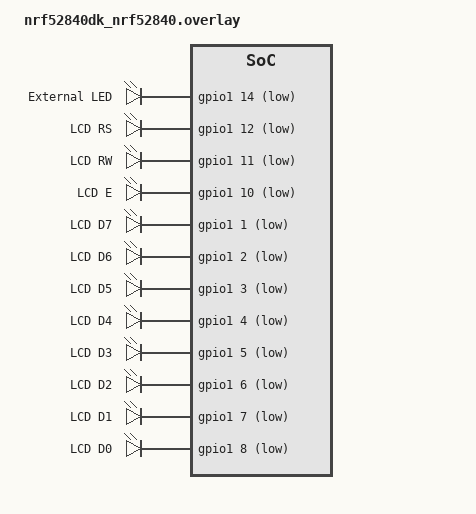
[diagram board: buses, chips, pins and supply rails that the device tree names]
// To get started, press Ctrl+Space (or Option+Esc) to bring up the completion menu and view the available nodes.

// You can also use the buttons in the sidebar to perform actions on nodes.
// Actions currently available include:

// * Enabling / disabling the node
// * Adding the bus to a bus
// * Removing the node
// * Connecting ADC channels

// For more help, browse the DeviceTree documentation at https: //docs.zephyrproject.org/latest/guides/dts/index.html
// You can also visit the nRF DeviceTree extension documentation at https: //docs.nordicsemi.com/bundle/nrf-connect-vscode/page/guides/ncs_configure_app.html#devicetree-support-in-the-extension


/ {
  lcd_pins {
    compatible = "gpio-leds";

    ext_led: ext_led {
      gpios = <&gpio1 14 GPIO_ACTIVE_LOW>;
      label = "External LED";
    };

    lcd_rs: lcd_rs {
      gpios = <&gpio1 12 GPIO_ACTIVE_LOW>;
      label = "LCD RS";
    };
    lcd_rw: lcd_rw {
      gpios = <&gpio1 11 GPIO_ACTIVE_LOW>;
      label = "LCD RW";
    };
    lcd_enable: lcd_enable {
      gpios = <&gpio1 10 GPIO_ACTIVE_LOW>;
      label = "LCD E";
    };
    lcd_d7: lcd_d7 {
      gpios = <&gpio1 1 GPIO_ACTIVE_LOW>;
      label = "LCD D7";
    };
    lcd_d6: lcd_d6 {
      gpios = <&gpio1 2 GPIO_ACTIVE_LOW>;
      label = "LCD D6";
    };
    lcd_d5: lcd_d5 {
      gpios = <&gpio1 3 GPIO_ACTIVE_LOW>;
      label = "LCD D5";
    };
    lcd_d4: lcd_d4 {
      gpios = <&gpio1 4 GPIO_ACTIVE_LOW>;
      label = "LCD D4";
    };
    lcd_d3: lcd_d3 {
      gpios = <&gpio1 5 GPIO_ACTIVE_LOW>;
      label = "LCD D3";
    };
    lcd_d2: lcd_d2 {
      gpios = <&gpio1 6 GPIO_ACTIVE_LOW>;
      label = "LCD D2";
    };
    lcd_d1: lcd_d1 {
      gpios = <&gpio1 7 GPIO_ACTIVE_LOW>;
      label = "LCD D1";
    };
    lcd_d0: lcd_d0 {
      gpios = <&gpio1 8 GPIO_ACTIVE_LOW>;
      label = "LCD D0";
    };
  };
};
